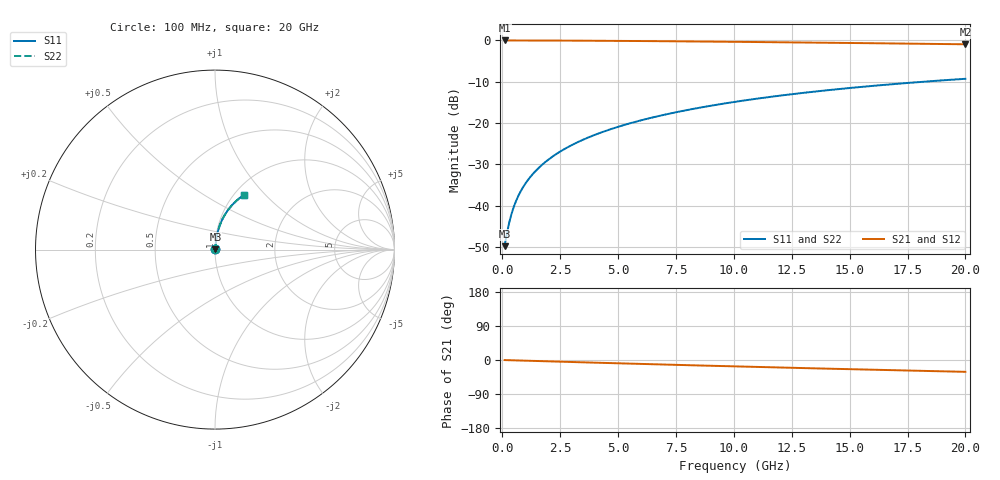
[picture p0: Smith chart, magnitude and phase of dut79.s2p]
! Touchstone file exported from HFSS 2024.1.0
!  File:  C:/UserFiles/LocalFiles/RDL_TSV_Batchsim/temp_RDL_top_79_1778682418.aedt
!  Generated:  10:29:10 PM May 13, 2026
!  Design:  RDL_top
!  Project:  temp_RDL_top_79_1778682418
!  Setup:  Setup1
!  Solution:  Sweep
! Variables:
!  dtsv = 10.80580581um
!  hbump = 3um
!  htsv = 98.12um
!  ldown = 100um
!  lrdl = 410.58um
!  p = 40
!  p1 = 44.05um
!  rhole = 1um
!  t = 450um
!  tdown = 3.915915916um
!  trdl = 4.01um
!  wdown = 15.38538539um
!  wrdl = 14.34um
# GHz S MA R 50.000000
! Terminal data exported
! Port[1] = Box2_T1
! Port[2] = Box2_T2
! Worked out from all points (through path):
!   200 points, 100 MHz to 20 GHz, reference 50 ohm
!   highest |S21| = -0.02 dB at 100 MHz (marker M1); lowest = -0.9 dB at 20 GHz (marker M2)
!   group delay of S21, straight-line fit = 4.32 ps
!   lowest |S11| = -49.7 dB at 100 MHz (marker M3), VSWR 1.01, Z = 50.3 + j0.191 ohm
!   |S11| at or under -10 dB: start of sweep to 18.19 GHz
!   |S22| runs from -49.7 to -9.3 dB; largest |S21 - S12| = 3e-15
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0.1  0.003257 35.7  0.9974 -0.2  0.9974 -0.2  0.003257 35.7
! Gamma 0 0 0 0
! Port Impedance 50 0 50 0
0.2  0.00465 54.6  0.9973 -0.4  0.9973 -0.4  0.00465 54.6
0.3  0.006301 63.9  0.9972 -0.5  0.9972 -0.5  0.006301 63.9
0.4  0.008035 69.2  0.9971 -0.7  0.9971 -0.7  0.008035 69.2
0.5  0.009795 72.4  0.997 -0.9  0.997 -0.9  0.009795 72.4
0.6  0.01156 74.7  0.9969 -1.1  0.9969 -1.1  0.01156 74.7
0.8  0.0151 77.5  0.9967 -1.4  0.9967 -1.4  0.0151 77.5
1.1  0.0204 79.9  0.9963 -2.0  0.9963 -2.0  0.0204 79.9
1.5  0.02748 81.5  0.9958 -2.7  0.9958 -2.7  0.02748 81.5
1.8  0.03281 82.2  0.9953 -3.2  0.9953 -3.2  0.03281 82.2
2.1  0.03815 82.6  0.9947 -3.7  0.9947 -3.7  0.03815 82.6
2.7  0.04886 82.9  0.9933 -4.8  0.9933 -4.8  0.04886 82.9
3.5  0.0632 82.7  0.9911 -6.2  0.9911 -6.2  0.0632 82.7
4.2  0.07578 82.3  0.9887 -7.4  0.9887 -7.4  0.07577 82.3
5  0.09018 81.7  0.9856 -8.7  0.9856 -8.7  0.09018 81.7
5.9  0.1064 80.8  0.9818 -10.2  0.9818 -10.2  0.1064 80.8
6.8  0.1226 79.8  0.9776 -11.7  0.9776 -11.7  0.1226 79.8
8.3  0.1496 78.1  0.9699 -14.1  0.9699 -14.1  0.1496 78.0
10.1  0.1816 75.7  0.9599 -16.9  0.9599 -16.9  0.1816 75.7
13.4  0.2389 71.2  0.9401 -21.9  0.9401 -21.9  0.2389 71.2
16.7  0.2931 66.7  0.9188 -26.7  0.9188 -26.7  0.293 66.7
20  0.3433 62.2  0.8966 -31.2  0.8966 -31.2  0.3432 62.1
